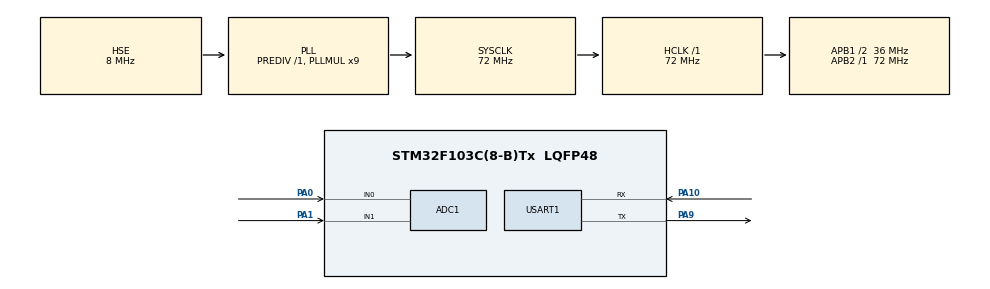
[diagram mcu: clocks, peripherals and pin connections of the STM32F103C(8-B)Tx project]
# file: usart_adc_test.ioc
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ADC1.Channel-0\#ChannelRegularConversion=ADC_CHANNEL_0
ADC1.Channel-1\#ChannelRegularConversion=ADC_CHANNEL_1
ADC1.ContinuousConvMode=DISABLE
ADC1.DiscontinuousConvMode=ENABLE
ADC1.EnableRegularConversion=ENABLE
ADC1.ExternalTrigConv=ADC_EXTERNALTRIGCONV_T3_TRGO
ADC1.NbrOfConversion=2
ADC1.NbrOfConversionFlag=1
ADC1.Rank-0\#ChannelRegularConversion=1
ADC1.Rank-1\#ChannelRegularConversion=2
ADC1.SamplingTime-0\#ChannelRegularConversion=ADC_SAMPLETIME_1CYCLE_5
ADC1.SamplingTime-1\#ChannelRegularConversion=ADC_SAMPLETIME_1CYCLE_5
ADC1.master=1
Dma.ADC1.0.Direction=DMA_PERIPH_TO_MEMORY
Dma.ADC1.0.Instance=DMA1_Channel1
Dma.ADC1.0.MemDataAlignment=DMA_MDATAALIGN_WORD
Dma.ADC1.0.MemInc=DMA_MINC_ENABLE
Dma.ADC1.0.Mode=DMA_CIRCULAR
Dma.ADC1.0.PeriphDataAlignment=DMA_PDATAALIGN_WORD
Dma.ADC1.0.PeriphInc=DMA_PINC_DISABLE
Dma.ADC1.0.Priority=DMA_PRIORITY_LOW
Dma.Request0=ADC1
Mcu.Family=STM32F1
Mcu.Name=STM32F103C(8-B)Tx
Mcu.Package=LQFP48
NVIC.ADC1_2_IRQn=true\:0\:0\:false\:false\:true\:true\:true
NVIC.DMA1_Channel1_IRQn=true\:0\:0\:false\:false\:true\:false\:true
NVIC.PriorityGroup=NVIC_PRIORITYGROUP_4
PA0-WKUP.Signal=ADCx_IN0
PA1.Signal=ADCx_IN1
PA10.Mode=Asynchronous
PA10.Signal=USART1_RX
PA13.Mode=Serial_Wire
PA13.Signal=SYS_JTMS-SWDIO
PA14.Mode=Serial_Wire
PA14.Signal=SYS_JTCK-SWCLK
PA9.Mode=Asynchronous
PA9.Signal=USART1_TX
PD0-OSC_IN.Mode=HSE-External-Oscillator
PD0-OSC_IN.Signal=RCC_OSC_IN
PD1-OSC_OUT.Mode=HSE-External-Oscillator
PD1-OSC_OUT.Signal=RCC_OSC_OUT
ProjectManager.HeapSize=0x200
ProjectManager.StackSize=0x400
ProjectManager.TargetToolchain=STM32CubeIDE
RCC.ADCPresc=RCC_ADCPCLK2_DIV8
RCC.AHBFreq_Value=72000000
RCC.APB1CLKDivider=RCC_HCLK_DIV2
RCC.APB1Freq_Value=36000000
RCC.APB1TimFreq_Value=72000000
RCC.APB2Freq_Value=72000000
RCC.APB2TimFreq_Value=72000000
RCC.HCLKFreq_Value=72000000
RCC.PLLMUL=RCC_PLL_MUL9
RCC.PLLSourceVirtual=RCC_PLLSOURCE_HSE
RCC.SYSCLKFreq_VALUE=72000000
RCC.SYSCLKSource=RCC_SYSCLKSOURCE_PLLCLK
RCC.USBFreq_Value=72000000
SH.ADCx_IN0.0=ADC1_IN0,IN0
SH.ADCx_IN1.0=ADC1_IN1,IN1
TIM3.AutoReloadPreload=TIM_AUTORELOAD_PRELOAD_ENABLE
TIM3.ClockDivision=TIM_CLOCKDIVISION_DIV1
TIM3.CounterMode=TIM_COUNTERMODE_DOWN
TIM3.Period=5661
TIM3.TIM_MasterOutputTrigger=TIM_TRGO_UPDATE
USART1.VirtualMode=VM_ASYNC
VP_TIM3_VS_ClockSourceINT.Mode=Internal
board=custom

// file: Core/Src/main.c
/* USER CODE BEGIN Header */
/**
 ******************************************************************************
 * @file           : main.c
 * @brief          : Main program body
 ******************************************************************************
 * @attention
 *
 * <h2><center>&copy; Copyright (c) 2021 STMicroelectronics.
 * All rights reserved.</center></h2>
 *
 * This software component is licensed by ST under BSD 3-Clause license,
 * the "License"; You may not use this file except in compliance with the
 * License. You may obtain a copy of the License at:
 *                        opensource.org/licenses/BSD-3-Clause
 *
 ******************************************************************************
 */
/* USER CODE END Header */
#include "main.h"

/* USER CODE BEGIN Includes */
#include <string.h>
#include <stdio.h>
/* USER CODE END Includes */

/* USER CODE BEGIN PD */
#define ADC_BUFFER_SIZE   256
#define RMS_BUFFER_SIZE   256
#define MSG_LEN            30

/**
 * _V -> Index 0 of any adc_XXX  array
 * _I -> Index 1 of any adc_XXX  array
 */
#define _V   0
#define _I   1

/**
 * Sensor Parameters
 * ------------------------------------
 * Sensitivity-[ S ] : in mV/A or mV/V
 * Amplifier Gain-[ G ]: calculated from max rating and sensitivity
 * Max rating-[ Imax or Vmax ]
 * signal bias voltage [ B ]: in Volts
 */

#define I_MAX   10U  	// in Amperes: should be an integer value
#define S_I		2		// Sensitivity of current sensor in mV/A, can be a floating point value
#define G_I		82.5f	// current sensor amp. gain
#define B_I		1.65f	// current signal bias voltage for ADC value range adjustment

#define V_MAX	220U	// in Volts : should be an integer value
#define S_V		1       // Sensitivity of voltage sensor in mV/A, can be a floating point value
#define G_V		7.5f    // voltage sensor amp. gain
#define B_V		1.65f	// voltage signal bias voltage for ADC value range adjustment

/* USER CODE END PD */

ADC_HandleTypeDef hadc1;
DMA_HandleTypeDef hdma_adc1;

TIM_HandleTypeDef htim3;

UART_HandleTypeDef huart1;

/* USER CODE BEGIN PV */

//uint16_t adc_buf;
//float adc_sum=0;
//float adc_mean=0;
//float rms_total = 0;
//float rms_sum = 0;
//float adc1_rms[RMS_BUFFER_SIZE];
//uint16_t adc1_rms_index = 0;
//float adc_volt=0;
//char str[20];

uint8_t bCalculateRMS = 0;  // flag to signal the RMS calculation

uint32_t adc_buf[2]; //  RAW_ADC_VALUE:         adc_buf[0] -> V, adc_buf[1] -> I
float adc_volt[2];  // ADC_VOLTAGE_READING :  adc_volt[0] -> V , adc_volt[1] -> I
float adc_sum[2];   // ADC_ACCUMALATOR :      adc_sum[0] -> sum(V), adc_sum[1] -> sum(I)
float adc_mean[2];   // ADC_MEAN:             adc_mean[0] -> mean(V) , adc_mean[1] -> mean(I)
float rms_total[2] ;
float rms_sum[2];

float Vrms[RMS_BUFFER_SIZE];
uint16_t Vrms_index = 0;
float Irms[RMS_BUFFER_SIZE];
uint16_t Irms_index = 0;
float P_real[RMS_BUFFER_SIZE];
uint16_t P_real_index = 0;
char output_str[MSG_LEN];

/* USER CODE END PV */

void SystemClock_Config(void);
static void MX_GPIO_Init(void);
static void MX_DMA_Init(void);
static void MX_ADC1_Init(void);
static void MX_USART1_UART_Init(void);
static void MX_TIM3_Init(void);
/* USER CODE BEGIN PFP */
/**
 * @brief this functon is based on the Quake
 * inverser sqrt algorithm but modified
 * to calculate the sqrt
 * source: codeproject.com/Articles/69941/Best-Square-Root-Method-Algorithm-Function-Precisi
 */
#define SQRT_MAGIC_F 0x5f3759df
float sqrt2(const float x)
{
	const float xhalf = 0.5f*x;
	union // get bits for floating value
	{
		float x;
		int i;
	} u;
	u.x = x;
	u.i = SQRT_MAGIC_F - (u.i >> 1); // gives initial guess y0

	u.x = u.x*(1.5f - xhalf*u.x*u.x); // Newton step, repeating increases accuracy
	u.x = u.x*(1.5f - xhalf*u.x*u.x);
	return x*u.x;
}

/* USER CODE END PFP */

int main(void)
{

  /* MCU Configuration--------------------------------------------------------*/

  /* Reset of all peripherals, Initializes the Flash interface and the Systick. */
  HAL_Init();

  /* Configure the system clock */
  SystemClock_Config();

  /* Initialize all configured peripherals */
  MX_GPIO_Init();
  MX_DMA_Init();
  MX_ADC1_Init();
  MX_USART1_UART_Init();
  MX_TIM3_Init();
  /* USER CODE BEGIN 2 */
//	uint16_t adc_reading = {0};
//  HAL_ADC_Start_IT(&hadc1);

  if( HAL_OK != HAL_ADC_Start_DMA(&hadc1, adc_buf, 2) )
  {
	  Error_Handler();
  }
  if( HAL_OK != HAL_TIM_Base_Start(&htim3))
  {
	  Error_Handler();
  }
  /* USER CODE END 2 */

  /* Infinite loop */
	while (1)
	{

    /* USER CODE BEGIN 3 */
//		HAL_ADC_Start(&hadc1);
//		HAL_ADC_PollForConversion(&hadc1, HAL_MAX_DELAY);
//		adc_reading = HAL_ADC_GetValue(&hadc1);
//

		if(bCalculateRMS)
		{
//			HAL_ADC_Start(&hadc1);
//			HAL_ADC_Start_IT(&hadc1);
			bCalculateRMS = 0; // clear flag
			Vrms[Vrms_index] = sqrt2(adc_mean[_V]) ;
			rms_sum[_V] = rms_sum[_V] + (Vrms[Vrms_index]*Vrms[Vrms_index]);

			Irms[Irms_index] = sqrt2(adc_mean[_I]) ;
			rms_sum[_I] = rms_sum[_I] + (Irms[Irms_index]*Irms[Irms_index]);

			if((Vrms_index == RMS_BUFFER_SIZE-1)||(Irms_index == RMS_BUFFER_SIZE-1))
			{
				rms_total[_V] = sqrt2(rms_sum[_V]/RMS_BUFFER_SIZE);
				rms_total[_I] = sqrt2(rms_sum[_I]/RMS_BUFFER_SIZE);

				Vrms_index = 0;
				rms_sum[_V] = 0;
				Irms_index = 0;
				rms_sum[_I] = 0;
			}
			else
			{
				Vrms_index++ ;
				Irms_index++ ;
			}
			sprintf(output_str,"%.3f,%.3f,%.3f\r\n", rms_total[_V], rms_total[_I], P_real[P_real_index]);
			P_real_index = (P_real_index + 1) % RMS_BUFFER_SIZE;
			HAL_UART_Transmit(&huart1, (uint8_t*)output_str, strlen(output_str), HAL_MAX_DELAY);
		}
	}
  /* USER CODE END 3 */
}

void SystemClock_Config(void)
{
  RCC_OscInitTypeDef RCC_OscInitStruct = {0};
  RCC_ClkInitTypeDef RCC_ClkInitStruct = {0};
  RCC_PeriphCLKInitTypeDef PeriphClkInit = {0};

  /** Initializes the RCC Oscillators according to the specified parameters
  * in the RCC_OscInitTypeDef structure.
  */
  RCC_OscInitStruct.OscillatorType = RCC_OSCILLATORTYPE_HSE;
  RCC_OscInitStruct.HSEState = RCC_HSE_ON;
  RCC_OscInitStruct.HSEPredivValue = RCC_HSE_PREDIV_DIV1;
  RCC_OscInitStruct.HSIState = RCC_HSI_ON;
  RCC_OscInitStruct.PLL.PLLState = RCC_PLL_ON;
  RCC_OscInitStruct.PLL.PLLSource = RCC_PLLSOURCE_HSE;
  RCC_OscInitStruct.PLL.PLLMUL = RCC_PLL_MUL9;
  if (HAL_RCC_OscConfig(&RCC_OscInitStruct) != HAL_OK)
  {
    Error_Handler();
  }
  /** Initializes the CPU, AHB and APB buses clocks
  */
  RCC_ClkInitStruct.ClockType = RCC_CLOCKTYPE_HCLK|RCC_CLOCKTYPE_SYSCLK
                              |RCC_CLOCKTYPE_PCLK1|RCC_CLOCKTYPE_PCLK2;
  RCC_ClkInitStruct.SYSCLKSource = RCC_SYSCLKSOURCE_PLLCLK;
  RCC_ClkInitStruct.AHBCLKDivider = RCC_SYSCLK_DIV1;
  RCC_ClkInitStruct.APB1CLKDivider = RCC_HCLK_DIV2;
  RCC_ClkInitStruct.APB2CLKDivider = RCC_HCLK_DIV1;

  if (HAL_RCC_ClockConfig(&RCC_ClkInitStruct, FLASH_LATENCY_2) != HAL_OK)
  {
    Error_Handler();
  }
  PeriphClkInit.PeriphClockSelection = RCC_PERIPHCLK_ADC;
  PeriphClkInit.AdcClockSelection = RCC_ADCPCLK2_DIV8;
  if (HAL_RCCEx_PeriphCLKConfig(&PeriphClkInit) != HAL_OK)
  {
    Error_Handler();
  }
}

static void MX_ADC1_Init(void)
{

  ADC_ChannelConfTypeDef sConfig = {0};

  /** Common config
  */
  hadc1.Instance = ADC1;
  hadc1.Init.ScanConvMode = ADC_SCAN_ENABLE;
  hadc1.Init.ContinuousConvMode = DISABLE;
  hadc1.Init.DiscontinuousConvMode = ENABLE;
  hadc1.Init.NbrOfDiscConversion = 1;
  hadc1.Init.ExternalTrigConv = ADC_EXTERNALTRIGCONV_T3_TRGO;
  hadc1.Init.DataAlign = ADC_DATAALIGN_RIGHT;
  hadc1.Init.NbrOfConversion = 2;
  if (HAL_ADC_Init(&hadc1) != HAL_OK)
  {
    Error_Handler();
  }
  /** Configure Regular Channel
  */
  sConfig.Channel = ADC_CHANNEL_0;
  sConfig.Rank = ADC_REGULAR_RANK_1;
  sConfig.SamplingTime = ADC_SAMPLETIME_1CYCLE_5;
  if (HAL_ADC_ConfigChannel(&hadc1, &sConfig) != HAL_OK)
  {
    Error_Handler();
  }
  /** Configure Regular Channel
  */
  sConfig.Channel = ADC_CHANNEL_1;
  sConfig.Rank = ADC_REGULAR_RANK_2;
  if (HAL_ADC_ConfigChannel(&hadc1, &sConfig) != HAL_OK)
  {
    Error_Handler();
  }

}

static void MX_TIM3_Init(void)
{

  TIM_ClockConfigTypeDef sClockSourceConfig = {0};
  TIM_MasterConfigTypeDef sMasterConfig = {0};

  htim3.Instance = TIM3;
  htim3.Init.Prescaler = 0;
  htim3.Init.CounterMode = TIM_COUNTERMODE_DOWN;
  htim3.Init.Period = 5661;
  htim3.Init.ClockDivision = TIM_CLOCKDIVISION_DIV1;
  htim3.Init.AutoReloadPreload = TIM_AUTORELOAD_PRELOAD_ENABLE;
  if (HAL_TIM_Base_Init(&htim3) != HAL_OK)
  {
    Error_Handler();
  }
  sClockSourceConfig.ClockSource = TIM_CLOCKSOURCE_INTERNAL;
  if (HAL_TIM_ConfigClockSource(&htim3, &sClockSourceConfig) != HAL_OK)
  {
    Error_Handler();
  }
  sMasterConfig.MasterOutputTrigger = TIM_TRGO_UPDATE;
  sMasterConfig.MasterSlaveMode = TIM_MASTERSLAVEMODE_DISABLE;
  if (HAL_TIMEx_MasterConfigSynchronization(&htim3, &sMasterConfig) != HAL_OK)
  {
    Error_Handler();
  }

}

static void MX_USART1_UART_Init(void)
{

  huart1.Instance = USART1;
  huart1.Init.BaudRate = 115200;
  huart1.Init.WordLength = UART_WORDLENGTH_8B;
  huart1.Init.StopBits = UART_STOPBITS_1;
  huart1.Init.Parity = UART_PARITY_NONE;
  huart1.Init.Mode = UART_MODE_TX_RX;
  huart1.Init.HwFlowCtl = UART_HWCONTROL_NONE;
  huart1.Init.OverSampling = UART_OVERSAMPLING_16;
  if (HAL_UART_Init(&huart1) != HAL_OK)
  {
    Error_Handler();
  }

}

static void MX_DMA_Init(void)
{

  /* DMA controller clock enable */
  __HAL_RCC_DMA1_CLK_ENABLE();

  /* DMA interrupt init */
  /* DMA1_Channel1_IRQn interrupt configuration */
  HAL_NVIC_SetPriority(DMA1_Channel1_IRQn, 0, 0);
  HAL_NVIC_EnableIRQ(DMA1_Channel1_IRQn);

}

static void MX_GPIO_Init(void)
{

  /* GPIO Ports Clock Enable */
  __HAL_RCC_GPIOD_CLK_ENABLE();
  __HAL_RCC_GPIOA_CLK_ENABLE();

}

/* USER CODE BEGIN 4 */

/**
 * This function has a reserved name that us provided by the HAL
 * but.. you provide the implementation
 */
void HAL_ADC_ConvCpltCallback(ADC_HandleTypeDef *hadc)
{
//	HAL_GPIO_TogglePin(GPIOA, GPIO_PIN_2);
	static uint8_t index = 0;  // index increments from 0->255 and loops back
	static float I_inst = 0;
	static float V_inst = 0;
//	adc_buf = HAL_ADC_GetValue(&hadc1);

	/* convert adc value to volts */
	/* input_volt = ( (3300mV/(2^12))*ADC_Value  )/1000 [in Volts]  */
	adc_volt[_V] = ((3300UL*adc_buf[_V])>>12)/1000 ;

	// multiplication of the 1414 in the numerator is because
	// of the units of the sensitivity is in mV
	// the 414 part came from multiplying by 1.414 which is the sqrt(2)
	// that is because the 220 value of AC voltage is the RMS value,
	// bu the real MAXimum (peak) value of the voltage is 220*sqrt(2)
	V_inst = ((adc_volt[_V] - B_V)*1414) / (G_V * S_V) ;
//	adc_sum[_V] = adc_sum[_V] + (adc_volt[_V]*adc_volt[_V]);
	adc_sum[_V] = adc_sum[_V] + (V_inst*V_inst);

	// multiplication of the 1000 in the numerator is because
	// of the units of the sensitivity is in mV
	adc_volt[_I] = ((3300UL*adc_buf[_I])>>12)/1000 ;
	I_inst = ((adc_volt[_I] - B_I)*1000) / (G_I * S_I) ;
//	adc_sum[_I] = adc_sum[_I] + (adc_volt[_I]*adc_volt[_I]);
	adc_sum[_I] = adc_sum[_I] + (I_inst*I_inst);

	P_real[P_real_index] = V_inst * I_inst ;

	if(index==ADC_BUFFER_SIZE - 1)
	{
		bCalculateRMS = 1;
		adc_mean[_V] = adc_sum[_V]/ADC_BUFFER_SIZE;
		adc_sum[_V] = 0;

		adc_mean[_I] = adc_sum[_I]/ADC_BUFFER_SIZE;
		adc_sum[_I] = 0;
	}

	index ++ ;
//	HAL_ADC_Start_IT(&hadc1);

}
/* USER CODE END 4 */

void Error_Handler(void)
{
	__disable_irq();
	while (1)
	{
	}
}

/************************ (C) COPYRIGHT STMicroelectronics *****END OF FILE****/
